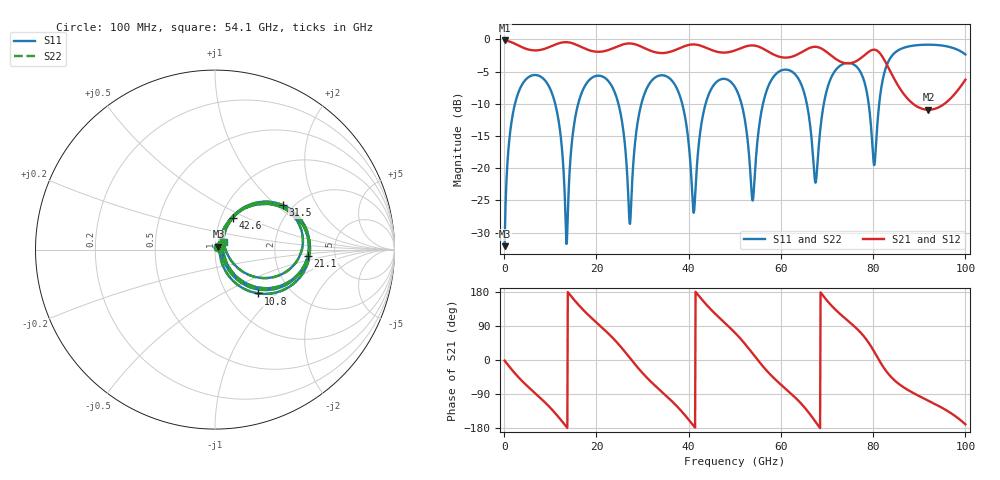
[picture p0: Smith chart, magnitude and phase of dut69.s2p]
! Touchstone file exported from HFSS 2026.1.0
!  File:  C:/ffzhzh/LocalFiles/Ansys_Project_Files/temp_train_TSV_RDL_69_1783449020_28540.aedt
!  Generated:  03:03:45 AM Jul  8, 2026
!  Design:  TSV_RDL
!  Project:  temp_train_TSV_RDL_69_1783449020_28540
! Variables:
!  h_bsmrdl = 4.14um
!  h_ox = 20um
!  h_rdl = 5um
!  h_sub = 52.82um
!  h_tmrdl = 4.59um
!  h_tsv = 52.82um
!  h_via = 3um
!  l_bsmrdl = 643.22um
!  l_sub = 4655.01um
!  l_tmrdl = 553.22um
!  m_sub = 200um
!  pitch = 44.13um
!  r_tsv = 10.45um
!  s_tmrdl = 10um
!  w_bsmrdl = 19um
!  w_sub = 500um
!  w_tmrdl = 18.49um
!  x_tsv_center1 = 562.465um
!  x_tsv_center2 = 1224.685um
!  x_tsv_center3 = 1796.395um
!  x_tsv_center4 = 2458.615um
!  x_tsv_center5 = 3030.325um
!  x_tsv_center6 = 3692.545um
# GHz S MA R 50.000000
! Terminal data exported
! Port[1] = TM_RDL1_1_T1
! Port[2] = TM_RDL5_1_T1
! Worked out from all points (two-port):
!   1000 points, 100 MHz to 100 GHz, reference 50 ohm
!   highest |S21| = -0.17 dB at 100 MHz (marker M1); lowest = -10.9 dB at 92 GHz (marker M2)
!   |S21| within 3 dB of the highest: start of sweep to 72.17 GHz; 76.84 GHz to 82.41 GHz (5.57 GHz wide, 7 % of centre)
!   lowest |S11| = -32.1 dB at 100 MHz (marker M3), VSWR 1.05, Z = 51.9 + j1.63 ohm
!   |S11| at or under -10 dB: 11.07 GHz to 16.05 GHz (4.978 GHz wide, 36.7 % of centre); 24.77 GHz to 29.75 GHz (4.982 GHz wide, 18.3 % of centre); 38.61 GHz to 43.68 GHz (5.069 GHz wide, 12.3 % of centre) (the widest 3 of 7)
!   |S22| runs from -32.1 to -0.8 dB; largest |S21 - S12| = 6.8e-12
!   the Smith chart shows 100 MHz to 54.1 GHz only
!   S11 on the Smith chart (normalised r, x): 100 MHz: 1.04, +0.03; 10.8 GHz: 1.39, -0.77; 21.1 GHz: 3.12, -0.29; 31.5 GHz: 1.78, +1.11; 42.6 GHz: 1.14, +0.42; 54.1 GHz: 1.10, +0.10
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0.1  0.02482 39.2  0.9811 -1.6  0.9811 -1.6  0.02482 39.2
! Gamma 0 0 0 0
! Port Impedance 50 0 50 0
3.2  0.3961 39.7  0.8926 -46.7  0.8926 -46.7  0.3961 39.7
10.8  0.3431 -45.4  0.9031 -136.6  0.9031 -136.6  0.3431 -45.4
13.5  0.02582 -10.5  0.9516 -176.2  0.9516 -176.2  0.0259 -10.5
16.8  0.3842 42.4  0.8702 136.6  0.8702 136.6  0.3841 42.4
21.1  0.5183 -3.8  0.8038 86.9  0.8038 86.9  0.5183 -3.8
27.3  0.03697 12.3  0.93 4.8  0.93 4.8  0.03753 12.2
31.5  0.4531 33.0  0.8225 -53.5  0.8225 -53.5  0.4531 32.9
33.4  0.5207 13.1  0.7869 -75.3  0.7869 -75.3  0.5206 13.0
38.3  0.346 -38.4  0.8626 -133.1  0.8626 -133.1  0.346 -38.4
41.1  0.04509 4.5  0.9138 -174.0  0.9138 -174.0  0.04554 4.6
42.6  0.202 60.8  0.8933 163.5  0.8933 163.5  0.2021 60.6
50.1  0.4226 -15.9  0.822 71.2  0.822 71.2  0.4226 -16.1
54.1  0.06509 43.0  0.8969 13.6  0.8969 13.6  0.06454 43.3
59.4  0.5565 29.1  0.7382 -58.3  0.7382 -58.3  0.5565 29.2
66.7  0.1617 -33.4  0.8695 -149.5  0.8695 -149.5  0.1616 -33.4
71  0.5137 46.7  0.7437 143.1  0.7437 143.1  0.5139 46.6
76.9  0.5851 -9.2  0.697 77.3  0.697 77.3  0.5852 -9.3
80.2  0.1056 12.7  0.8319 22.6  0.8319 22.6  0.1046 12.5
83.4  0.6838 41.5  0.5945 -38.0  0.5945 -38.0  0.6835 41.5
92  0.9097 -17.6  0.2842 -107.5  0.2842 -107.5  0.9097 -17.5
100  0.7645 -73.6  0.4863 -169.7  0.4863 -169.7  0.7645 -73.5
